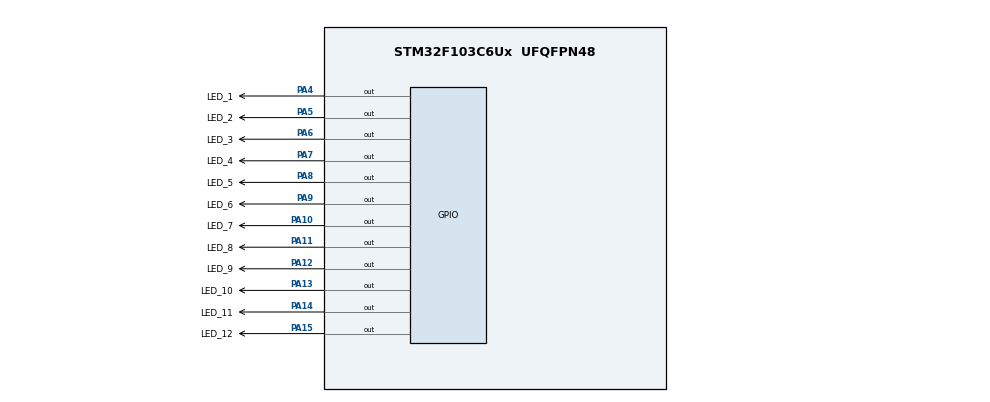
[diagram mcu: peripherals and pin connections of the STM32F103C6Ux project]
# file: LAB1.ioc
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Mcu.Family=STM32F1
Mcu.Name=STM32F103C6Ux
Mcu.Package=UFQFPN48
NVIC.PriorityGroup=NVIC_PRIORITYGROUP_4
PA10.GPIO_Label=LED_7
PA10.Signal=GPIO_Output
PA11.GPIO_Label=LED_8
PA11.Signal=GPIO_Output
PA12.GPIO_Label=LED_9
PA12.Signal=GPIO_Output
PA13.GPIO_Label=LED_10
PA13.Signal=GPIO_Output
PA14.GPIO_Label=LED_11
PA14.Signal=GPIO_Output
PA15.GPIO_Label=LED_12
PA15.Signal=GPIO_Output
PA4.GPIO_Label=LED_1
PA4.Signal=GPIO_Output
PA5.GPIO_Label=LED_2
PA5.Signal=GPIO_Output
PA6.GPIO_Label=LED_3
PA6.Signal=GPIO_Output
PA7.GPIO_Label=LED_4
PA7.Signal=GPIO_Output
PA8.GPIO_Label=LED_5
PA8.Signal=GPIO_Output
PA9.GPIO_Label=LED_6
PA9.Signal=GPIO_Output
ProjectManager.HeapSize=0x200
ProjectManager.StackSize=0x400
ProjectManager.TargetToolchain=STM32CubeIDE
RCC.APB1Freq_Value=8000000
RCC.APB2Freq_Value=8000000
board=custom

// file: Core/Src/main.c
/* USER CODE BEGIN Header */
/**
  ******************************************************************************
  * @file           : main.c
  * @brief          : Main program body
  ******************************************************************************
  * @attention
  *
  * Copyright (c) 2022 STMicroelectronics.
  * All rights reserved.
  *
  * This software is licensed under terms that can be found in the LICENSE file
  * in the root directory of this software component.
  * If no LICENSE file comes with this software, it is provided AS-IS.
  *
  ******************************************************************************
  */
/* USER CODE END Header */
#include "main.h"

void SystemClock_Config(void);
static void MX_GPIO_Init(void);

/* USER CODE BEGIN 0 */
void Led_Sequence ( int number ) {
 switch ( number ) {
 	 case 0:
 		 HAL_GPIO_WritePin ( GPIOA , LED_1_Pin | LED_2_Pin |LED_3_Pin | LED_4_Pin | LED_5_Pin | LED_6_Pin | LED_7_Pin |LED_8_Pin | LED_9_Pin | LED_10_Pin | LED_11_Pin , 1) ;
 		 HAL_GPIO_WritePin ( GPIOA , LED_12_Pin , 0) ;
 		 break ;
 	 case 1:
 		 HAL_GPIO_WritePin ( GPIOA , LED_12_Pin | LED_2_Pin |LED_3_Pin | LED_4_Pin | LED_5_Pin | LED_6_Pin | LED_7_Pin |LED_8_Pin | LED_9_Pin | LED_10_Pin | LED_11_Pin , 1) ;
 		 HAL_GPIO_WritePin ( GPIOA , LED_1_Pin , 0) ;
 		 break ;
 	 case 2:
 		 HAL_GPIO_WritePin ( GPIOA , LED_1_Pin | LED_12_Pin |LED_3_Pin | LED_4_Pin | LED_5_Pin | LED_6_Pin | LED_7_Pin |LED_8_Pin | LED_9_Pin | LED_10_Pin | LED_11_Pin , 1) ;
 		 HAL_GPIO_WritePin ( GPIOA , LED_2_Pin , 0) ;
 		 break ;
 	 case 3:
 		 HAL_GPIO_WritePin ( GPIOA , LED_1_Pin | LED_2_Pin |LED_12_Pin | LED_4_Pin | LED_5_Pin | LED_6_Pin | LED_7_Pin |LED_8_Pin | LED_9_Pin | LED_10_Pin | LED_11_Pin , 1) ;
 		 HAL_GPIO_WritePin ( GPIOA , LED_3_Pin , 0) ;
 		 break ;
 	 case 4:
 		 HAL_GPIO_WritePin ( GPIOA , LED_1_Pin | LED_2_Pin |LED_3_Pin | LED_12_Pin | LED_5_Pin | LED_6_Pin | LED_7_Pin |LED_8_Pin | LED_9_Pin | LED_10_Pin | LED_11_Pin , 1) ;
 		 HAL_GPIO_WritePin ( GPIOA , LED_4_Pin , 0) ;
  	  break ;
 	 case 5:
 		 HAL_GPIO_WritePin ( GPIOA , LED_1_Pin | LED_2_Pin |LED_3_Pin | LED_4_Pin | LED_12_Pin | LED_6_Pin | LED_7_Pin |
 LED_8_Pin | LED_9_Pin | LED_10_Pin | LED_11_Pin , 1) ;
 		 HAL_GPIO_WritePin ( GPIOA , LED_5_Pin , 0) ;
 		 break ;
 	 case 6:
 		 HAL_GPIO_WritePin ( GPIOA , LED_1_Pin | LED_2_Pin | LED_3_Pin | LED_4_Pin | LED_5_Pin | LED_12_Pin | LED_7_Pin |
 LED_8_Pin | LED_9_Pin | LED_10_Pin | LED_11_Pin , 1) ;
 		 HAL_GPIO_WritePin ( GPIOA , LED_6_Pin , 0) ;
 		 break ;
 	 case 7:
 		 HAL_GPIO_WritePin ( GPIOA , LED_1_Pin | LED_2_Pin | LED_3_Pin | LED_4_Pin | LED_5_Pin | LED_6_Pin | LED_12_Pin |
 LED_8_Pin | LED_9_Pin | LED_10_Pin | LED_11_Pin , 1) ;
  HAL_GPIO_WritePin ( GPIOA , LED_7_Pin , 0) ;
  	  	  break ;
 	 case 8:
 		 HAL_GPIO_WritePin ( GPIOA , LED_1_Pin | LED_2_Pin | LED_3_Pin | LED_4_Pin | LED_5_Pin | LED_6_Pin | LED_7_Pin |
 LED_12_Pin | LED_9_Pin | LED_10_Pin | LED_11_Pin , 1) ;
 		 HAL_GPIO_WritePin ( GPIOA , LED_8_Pin , 0) ;
 		 break ;
 	 case 9:
 		 HAL_GPIO_WritePin ( GPIOA , LED_1_Pin | LED_2_Pin | LED_3_Pin | LED_4_Pin | LED_5_Pin | LED_6_Pin | LED_7_Pin |
 LED_8_Pin | LED_12_Pin | LED_10_Pin | LED_11_Pin , 1) ;
 		 HAL_GPIO_WritePin ( GPIOA , LED_9_Pin , 0) ;
 		 break ;
 	 case 10:
 		 HAL_GPIO_WritePin ( GPIOA , LED_1_Pin | LED_2_Pin | LED_3_Pin | LED_4_Pin | LED_5_Pin | LED_6_Pin | LED_7_Pin |
 LED_8_Pin | LED_9_Pin | LED_12_Pin | LED_11_Pin , 1) ;
 		 HAL_GPIO_WritePin ( GPIOA , LED_10_Pin , 0) ;
 		 break ;
 	 case 11:
 		 HAL_GPIO_WritePin ( GPIOA , LED_1_Pin | LED_2_Pin | LED_3_Pin | LED_4_Pin | LED_5_Pin | LED_6_Pin | LED_7_Pin |
 LED_8_Pin | LED_9_Pin | LED_10_Pin | LED_12_Pin , 1) ;
 		 HAL_GPIO_WritePin ( GPIOA , LED_11_Pin , 0) ;
 		 break ;
  }
 }

void setNumberOnClock (int num ) {
	 switch ( num ) {
	 	 case 0:
	 		 HAL_GPIO_WritePin ( GPIOA , LED_12_Pin , 0) ;
	 		 break ;
	 	 case 1:
	 		 HAL_GPIO_WritePin ( GPIOA , LED_1_Pin , 0) ;
	 		 break ;
	 	 case 2:
	 		 HAL_GPIO_WritePin ( GPIOA , LED_2_Pin , 0) ;
	 		 break ;
	 	 case 3:
	 		 HAL_GPIO_WritePin ( GPIOA , LED_3_Pin , 0) ;
	 		 break ;
	 	 case 4:
	 		 HAL_GPIO_WritePin ( GPIOA , LED_4_Pin , 0) ;
	 		 break ;
	 	 case 5:
	 		 HAL_GPIO_WritePin ( GPIOA , LED_5_Pin , 0) ;
	 		 break ;
	 	 case 6:
	 		 HAL_GPIO_WritePin ( GPIOA , LED_6_Pin , 0) ;
	 		 break ;
	 	 case 7:
	 		 HAL_GPIO_WritePin ( GPIOA , LED_7_Pin , 0) ;
	 		 break ;
	 	 case 8:
	 		 HAL_GPIO_WritePin ( GPIOA , LED_8_Pin , 0) ;
	 		 break ;
	 	 case 9:
	 		 HAL_GPIO_WritePin ( GPIOA , LED_9_Pin , 0) ;
	 		 break ;
	 	 case 10:
	 		 HAL_GPIO_WritePin ( GPIOA , LED_10_Pin , 0) ;
	 		 break ;
	 	 case 11:
	 		 HAL_GPIO_WritePin ( GPIOA , LED_11_Pin , 0) ;
	 		 break ;
	 }
 }
/* USER CODE END 0 */

int main(void)
{

  /* MCU Configuration--------------------------------------------------------*/

  /* Reset of all peripherals, Initializes the Flash interface and the Systick. */
  HAL_Init();

  /* Configure the system clock */
  SystemClock_Config();

  /* Initialize all configured peripherals */
  MX_GPIO_Init();

  /* Infinite loop */
  while (1)
  {

}

void SystemClock_Config(void)
{
  RCC_OscInitTypeDef RCC_OscInitStruct = {0};
  RCC_ClkInitTypeDef RCC_ClkInitStruct = {0};

  /** Initializes the RCC Oscillators according to the specified parameters
  * in the RCC_OscInitTypeDef structure.
  */
  RCC_OscInitStruct.OscillatorType = RCC_OSCILLATORTYPE_HSI;
  RCC_OscInitStruct.HSIState = RCC_HSI_ON;
  RCC_OscInitStruct.HSICalibrationValue = RCC_HSICALIBRATION_DEFAULT;
  RCC_OscInitStruct.PLL.PLLState = RCC_PLL_NONE;
  if (HAL_RCC_OscConfig(&RCC_OscInitStruct) != HAL_OK)
  {
    Error_Handler();
  }

  /** Initializes the CPU, AHB and APB buses clocks
  */
  RCC_ClkInitStruct.ClockType = RCC_CLOCKTYPE_HCLK|RCC_CLOCKTYPE_SYSCLK
                              |RCC_CLOCKTYPE_PCLK1|RCC_CLOCKTYPE_PCLK2;
  RCC_ClkInitStruct.SYSCLKSource = RCC_SYSCLKSOURCE_HSI;
  RCC_ClkInitStruct.AHBCLKDivider = RCC_SYSCLK_DIV1;
  RCC_ClkInitStruct.APB1CLKDivider = RCC_HCLK_DIV1;
  RCC_ClkInitStruct.APB2CLKDivider = RCC_HCLK_DIV1;

  if (HAL_RCC_ClockConfig(&RCC_ClkInitStruct, FLASH_LATENCY_0) != HAL_OK)
  {
    Error_Handler();
  }
}

static void MX_GPIO_Init(void)
{
  GPIO_InitTypeDef GPIO_InitStruct = {0};

  /* GPIO Ports Clock Enable */
  __HAL_RCC_GPIOA_CLK_ENABLE();

  /*Configure GPIO pin Output Level */
  HAL_GPIO_WritePin(GPIOA, LED_1_Pin|LED_2_Pin|LED_3_Pin|LED_4_Pin
                          |LED_5_Pin|LED_6_Pin|LED_7_Pin|LED_8_Pin
                          |LED_9_Pin|LED_10_Pin|LED_11_Pin|LED_12_Pin, GPIO_PIN_RESET);

  /*Configure GPIO pins : LED_1_Pin LED_2_Pin LED_3_Pin LED_4_Pin
                           LED_5_Pin LED_6_Pin LED_7_Pin LED_8_Pin
                           LED_9_Pin LED_10_Pin LED_11_Pin LED_12_Pin */
  GPIO_InitStruct.Pin = LED_1_Pin|LED_2_Pin|LED_3_Pin|LED_4_Pin
                          |LED_5_Pin|LED_6_Pin|LED_7_Pin|LED_8_Pin
                          |LED_9_Pin|LED_10_Pin|LED_11_Pin|LED_12_Pin;
  GPIO_InitStruct.Mode = GPIO_MODE_OUTPUT_PP;
  GPIO_InitStruct.Pull = GPIO_NOPULL;
  GPIO_InitStruct.Speed = GPIO_SPEED_FREQ_LOW;
  HAL_GPIO_Init(GPIOA, &GPIO_InitStruct);

}

void Error_Handler(void)
{
  __disable_irq();
  while (1)
  {
  }
}
